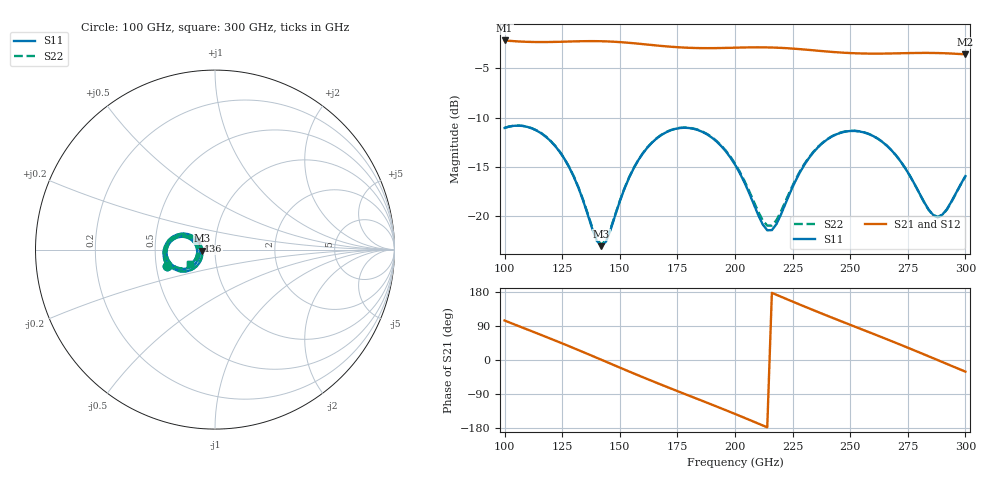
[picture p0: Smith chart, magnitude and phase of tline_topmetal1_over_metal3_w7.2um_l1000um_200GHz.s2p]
#  GHZ S DB R 50
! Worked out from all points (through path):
!   101 points, 100 GHz to 300 GHz, reference 50 ohm
!   highest |S21| = -2.18 dB at 100 GHz (marker M1); lowest = -3.6 dB at 300 GHz (marker M2)
!   group delay of S21, straight-line fit = 6.87 ps
!   lowest |S11| = -23.0 dB at 142 GHz (marker M3), VSWR 1.15, Z = 43.4 - j0.507 ohm
!   |S11| at or under -10 dB: start of sweep to end of sweep
!   |S22| runs from -22.9 to -10.8 dB; largest |S21 - S12| = 8.9e-14
!   S11 on the Smith chart (normalised r, x): 100 GHz: 0.57, -0.11; 136 GHz: 0.83, +0.08; 300 GHz: 0.75, -0.13
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100  -11.05 -161.3  -2.18 104.2  -2.18 104.2  -11.03 -161.2
108  -10.85 -176.8  -2.30 85.0  -2.30 85.0  -10.84 -176.6
116  -11.60 168.4  -2.34 65.8  -2.34 65.8  -11.59 168.7
126  -14.20 152.8  -2.30 41.3  -2.30 41.3  -14.16 153.2
134  -18.35 149.5  -2.26 21.2  -2.26 21.2  -18.28 150.1
136  -19.76 152.7  -2.25 16.1  -2.25 16.1  -19.67 153.3
142  -23.02 -175.3  -2.26 0.6  -2.26 0.6  -22.86 -175.2
154  -16.10 -138.2  -2.42 -30.3  -2.42 -30.3  -16.07 -138.4
168  -11.76 -156.7  -2.74 -65.2  -2.74 -65.2  -11.75 -156.5
176  -11.06 -170.5  -2.88 -84.4  -2.88 -84.4  -11.03 -170.2
184  -11.27 175.7  -2.95 -103.5  -2.95 -103.5  -11.23 176.2
200  -14.76 153.6  -2.91 -142.3  -2.91 -142.3  -14.65 154.6
212  -20.81 168.3  -2.88 -172.6  -2.88 -172.6  -20.39 169.1
216  -21.40 -169.8  -2.90 177.2  -2.90 177.2  -20.93 -170.5
224  -17.55 -144.7  -2.99 156.7  -2.99 156.7  -17.38 -146.3
234  -13.52 -149.3  -3.18 131.6  -3.18 131.6  -13.47 -150.4
250  -11.35 -172.9  -3.46 92.9  -3.46 92.9  -11.33 -173.6
258  -11.66 174.6  -3.51 73.8  -3.51 73.8  -11.64 174.1
268  -13.33 161.4  -3.50 49.7  -3.50 49.7  -13.31 160.9
278  -16.76 157.5  -3.45 25.0  -3.45 25.0  -16.77 156.9
288  -20.05 -175.8  -3.46 -0.3  -3.46 -0.3  -20.10 -176.3
300  -15.92 -149.1  -3.59 -30.7  -3.59 -30.7  -15.95 -149.1
